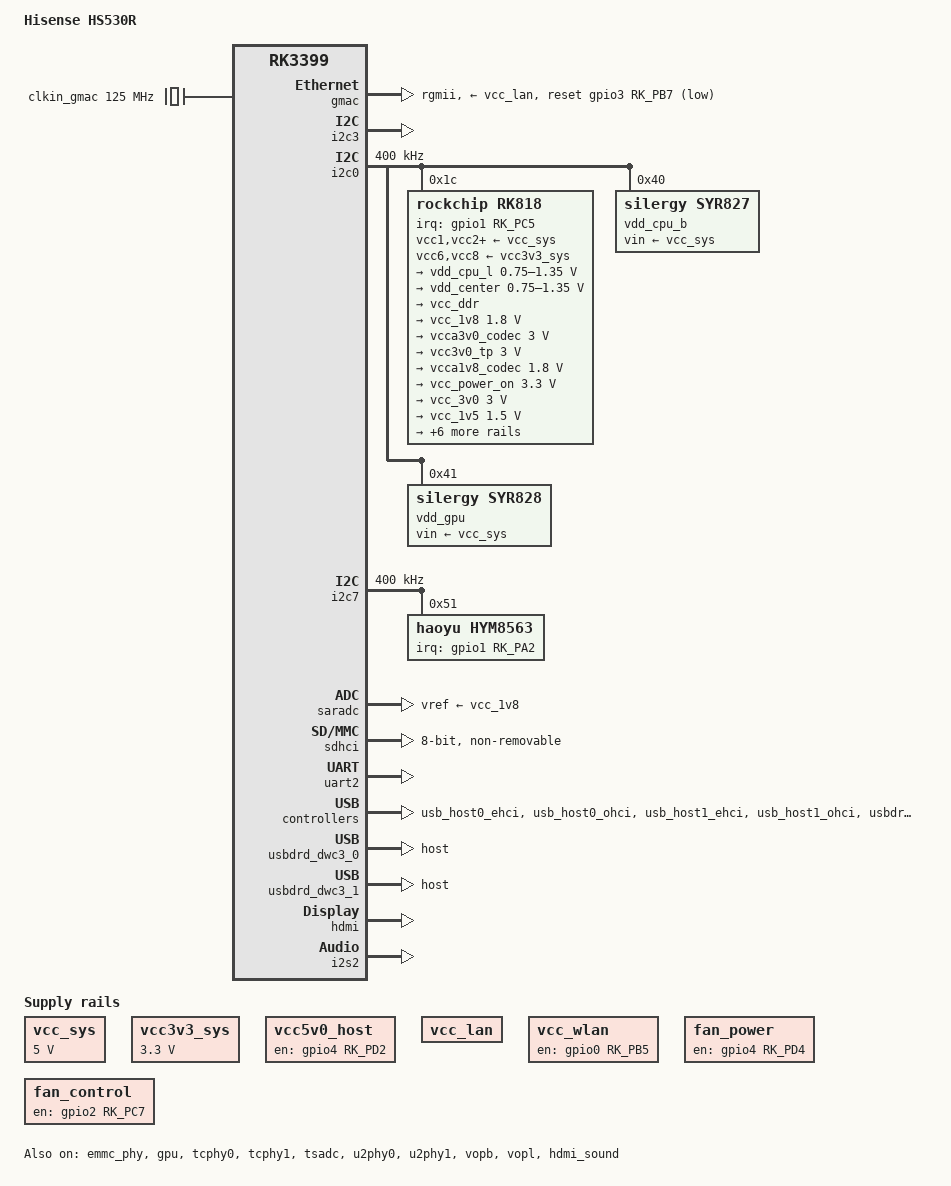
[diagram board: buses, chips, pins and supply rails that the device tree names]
// SPDX-License-Identifier: (GPL-2.0+ OR MIT)

/dts-v1/;
#include <dt-bindings/input/linux-event-codes.h>
#include <dt-bindings/pwm/pwm.h>
#include "rk3399.dtsi"

/ {
	model = "Hisense HS530R";
	compatible = "hisense,hs530r", "rockchip,rk3399";

	aliases {
		mmc0 = &sdhci;
		ethernet0 = &gmac;
	};

	chosen {
		stdout-path = "serial2:1500000n8";
	};

	clkin_gmac: external-gmac-clock {
		compatible = "fixed-clock";
		clock-frequency = <125000000>;
		clock-output-names = "clkin_gmac";
		#clock-cells = <0>;
	};

	vcc_sys: vcc-sys {
		compatible = "regulator-fixed";
		regulator-name = "vcc_sys";
		regulator-always-on;
		regulator-boot-on;
		regulator-min-microvolt = <5000000>;
		regulator-max-microvolt = <5000000>;
	};

	vcc3v3_sys: vcc3v3-sys {
		compatible = "regulator-fixed";
		regulator-name = "vcc3v3_sys";
		regulator-always-on;
		regulator-boot-on;
		regulator-min-microvolt = <3300000>;
		regulator-max-microvolt = <3300000>;
	};

	vcc5v0_host: vcc5v0-host {
		compatible = "regulator-fixed";
		enable-active-high;
		gpio = <&gpio4 RK_PD2 GPIO_ACTIVE_HIGH>;
		pinctrl-names = "default";
		pinctrl-0 = <&vcc5v0_host_en>;
		regulator-name = "vcc5v0_host";
		regulator-always-on;
	};

	vcc_lan: vcc-lan {
		compatible = "regulator-fixed";
		regulator-name = "vcc_lan";
		regulator-always-on;
		regulator-boot-on;
	};

	vcc_wlan: vcc-wlan {
		compatible = "regulator-fixed";
		enable-active-high;
		gpio = <&gpio0 RK_PB5 GPIO_ACTIVE_HIGH>;
		pinctrl-names = "default";
		pinctrl-0 = <&wlan_power_en>;
		regulator-name = "vcc_wlan";
		regulator-always-on;
	};

	fan_power: fan-power {
		compatible = "regulator-fixed";
		enable-active-high;
		gpio = <&gpio4 RK_PD4 GPIO_ACTIVE_HIGH>;
		pinctrl-names = "default";
		pinctrl-0 = <&fan_power_en>;
		regulator-name = "fan_power";
		regulator-always-on;
	};

	fan_control: fan-control {
		compatible = "regulator-fixed";
		enable-active-high;
		gpio = <&gpio2 RK_PC7 GPIO_ACTIVE_HIGH>;
		pinctrl-names = "default";
		pinctrl-0 = <&fan_control_en>;
		regulator-name = "fan_control";
		regulator-always-on;
	};
};

&cpu_l0 {
	cpu-supply = <&vdd_cpu_l>;
};

&cpu_l1 {
	cpu-supply = <&vdd_cpu_l>;
};

&cpu_l2 {
	cpu-supply = <&vdd_cpu_l>;
};

&cpu_l3 {
	cpu-supply = <&vdd_cpu_l>;
};

&cpu_b0 {
	cpu-supply = <&vdd_cpu_b>;
};

&cpu_b1 {
	cpu-supply = <&vdd_cpu_b>;
};

&emmc_phy {
	status = "okay";
};

&gmac {
	phy-supply = <&vcc_lan>;
	phy-mode = "rgmii";
	clock_in_out = "input";
	snps,reset-gpio = <&gpio3 RK_PB7 GPIO_ACTIVE_LOW>;
	snps,reset-active-low;
	snps,reset-delays-us = <0 10000 50000>;
	assigned-clocks = <&cru SCLK_RMII_SRC>;
	assigned-clock-parents = <&clkin_gmac>;
	pinctrl-names = "default";
	pinctrl-0 = <&rgmii_pins>;
	tx_delay = <0x1f>;
	rx_delay = <0x0f>;
	snps,txpbl = <4>;
	status = "okay";
};

&gpu {
	mali-supply = <&vdd_gpu>;
	status = "okay";
};

/* i2c3 is used for HDMI DDC */
&i2c3 {
	status = "okay";
};

&i2c0 {
	clock-frequency = <400000>;
	i2c-scl-rising-time-ns = <180>;
	i2c-scl-falling-time-ns = <30>;
	status = "okay";

	rk818: pmic@1c {
		compatible = "rockchip,rk818";
		reg = <0x1c>;
		interrupt-parent = <&gpio1>;
		interrupts = <RK_PC5 IRQ_TYPE_LEVEL_LOW>;
		pinctrl-names = "default";
		pinctrl-0 = <&pmic_int_l>;
		rockchip,system-power-controller;
		wakeup-source;
		#clock-cells = <1>;
		clock-output-names = "xin32k", "wifibt_32kin";
		vcc1-supply = <&vcc_sys>;
		vcc2-supply = <&vcc_sys>;
		vcc3-supply = <&vcc_sys>;
		vcc4-supply = <&vcc_sys>;
		vcc6-supply = <&vcc3v3_sys>;
		vcc7-supply = <&vcc_sys>;
		vcc8-supply = <&vcc3v3_sys>;
		vcc9-supply = <&vcc_sys>;

		regulators {
			vdd_cpu_l: DCDC_REG1 {
				regulator-name = "vdd_cpu_l";
				regulator-always-on;
				regulator-boot-on;
				regulator-min-microvolt = <750000>;
				regulator-max-microvolt = <1350000>;
				regulator-ramp-delay = <6001>;

				regulator-state-mem {
					regulator-off-in-suspend;
				};
			};

			vdd_center: DCDC_REG2 {
				regulator-name = "vdd_center";
				regulator-always-on;
				regulator-boot-on;
				regulator-min-microvolt = <750000>;
				regulator-max-microvolt = <1350000>;
				regulator-ramp-delay = <6001>;

				regulator-state-mem {
					regulator-off-in-suspend;
				};
			};

			vcc_ddr: DCDC_REG3 {
				regulator-name = "vcc_ddr";
				regulator-always-on;
				regulator-boot-on;

				regulator-state-mem {
					regulator-on-in-suspend;
				};
			};

			vcc_1v8: DCDC_REG4 {
				regulator-name = "vcc_1v8";
				regulator-always-on;
				regulator-boot-on;
				regulator-min-microvolt = <1800000>;
				regulator-max-microvolt = <1800000>;

				regulator-state-mem {
					regulator-on-in-suspend;
					regulator-suspend-microvolt = <1800000>;
				};
			};

			vcca3v0_codec: LDO_REG1 {
				regulator-name = "vcca3v0_codec";
				regulator-always-on;
				regulator-boot-on;
				regulator-min-microvolt = <3000000>;
				regulator-max-microvolt = <3000000>;

				regulator-state-mem {
					regulator-off-in-suspend;
				};
			};

			vcc3v0_tp: LDO_REG2 {
				regulator-name = "vcc3v0_tp";
				regulator-always-on;
				regulator-boot-on;
				regulator-min-microvolt = <3000000>;
				regulator-max-microvolt = <3000000>;

				regulator-state-mem {
					regulator-off-in-suspend;
				};
			};

			vcca1v8_codec: LDO_REG3 {
				regulator-name = "vcca1v8_codec";
				regulator-always-on;
				regulator-boot-on;
				regulator-min-microvolt = <1800000>;
				regulator-max-microvolt = <1800000>;

				regulator-state-mem {
					regulator-off-in-suspend;
				};
			};

			vcc_power_on: LDO_REG4 {
				regulator-name = "vcc_power_on";
				regulator-always-on;
				regulator-boot-on;
				regulator-min-microvolt = <3300000>;
				regulator-max-microvolt = <3300000>;

				regulator-state-mem {
					regulator-on-in-suspend;
					regulator-suspend-microvolt = <3300000>;
				};
			};

			vcc_3v0: LDO_REG5 {
				regulator-name = "vcc_3v0";
				regulator-always-on;
				regulator-boot-on;
				regulator-min-microvolt = <3000000>;
				regulator-max-microvolt = <3000000>;

				regulator-state-mem {
					regulator-on-in-suspend;
					regulator-suspend-microvolt = <3000000>;
				};
			};

			vcc_1v5: LDO_REG6 {
				regulator-name = "vcc_1v5";
				regulator-always-on;
				regulator-boot-on;
				regulator-min-microvolt = <1500000>;
				regulator-max-microvolt = <1500000>;

				regulator-state-mem {
					regulator-on-in-suspend;
					regulator-suspend-microvolt = <1500000>;
				};
			};

			vcc1v8_dvp: LDO_REG7 {
				regulator-name = "vcc1v8_dvp";
				regulator-always-on;
				regulator-boot-on;
				regulator-min-microvolt = <1800000>;
				regulator-max-microvolt = <1800000>;

				regulator-state-mem {
					regulator-off-in-suspend;
				};
			};

			vcc3v3_s3: LDO_REG8 {
				regulator-name = "vcc3v3_s3";
				regulator-always-on;
				regulator-boot-on;
				regulator-min-microvolt = <3300000>;
				regulator-max-microvolt = <3300000>;

				regulator-state-mem {
					regulator-off-in-suspend;
				};
			};

			vcc_sd: LDO_REG9 {
				regulator-name = "vcc_sd";
				regulator-always-on;
				regulator-boot-on;
				regulator-min-microvolt = <1800000>;
				regulator-max-microvolt = <3000000>;

				regulator-state-mem {
					regulator-on-in-suspend;
					regulator-suspend-microvolt = <3000000>;
				};
			};

			vcc3v3_s0: SWITCH_REG1 {
				regulator-name = "vcc3v3_s0";
				regulator-always-on;
				regulator-boot-on;

				regulator-state-mem {
					regulator-on-in-suspend;
				};
			};

			boost_otg: DCDC_BOOST {
				regulator-name = "boost_otg";
				regulator-always-on;
				regulator-boot-on;
				regulator-min-microvolt = <5000000>;
				regulator-max-microvolt = <5000000>;

				regulator-state-mem {
					regulator-on-in-suspend;
					regulator-suspend-microvolt = <5000000>;
				};
			};

			otg_switch: OTG_SWITCH {
				regulator-name = "otg_switch";
			};
		};
	};

	vdd_cpu_b: regulator@40 {
		compatible = "silergy,syr827";
		reg = <0x40>;
		fcs,suspend-voltage-selector = <1>;
		pinctrl-names = "default";
		pinctrl-0 = <&vsel1_pin>;
		regulator-name = "vdd_cpu_b";
		regulator-min-microvolt = <712500>;
		regulator-max-microvolt = <1500000>;
		regulator-ramp-delay = <1000>;
		regulator-always-on;
		regulator-boot-on;
		vin-supply = <&vcc_sys>;

		regulator-state-mem {
			regulator-off-in-suspend;
		};
	};

	vdd_gpu: regulator@41 {
		compatible = "silergy,syr828";
		reg = <0x41>;
		fcs,suspend-voltage-selector = <1>;
		pinctrl-names = "default";
		pinctrl-0 = <&vsel2_pin>;
		regulator-name = "vdd_gpu";
		regulator-min-microvolt = <712500>;
		regulator-max-microvolt = <1500000>;
		regulator-ramp-delay = <1000>;
		regulator-always-on;
		regulator-boot-on;
		vin-supply = <&vcc_sys>;

		regulator-state-mem {
			regulator-off-in-suspend;
		};
	};
};

/* i2c7 has the RTC */
&i2c7 {
	clock-frequency = <400000>;
	status = "okay";

	hym8563: rtc@51 {
		compatible = "haoyu,hym8563";
		reg = <0x51>;
		interrupt-parent = <&gpio1>;
		interrupts = <RK_PA2 IRQ_TYPE_LEVEL_LOW>;
		#clock-cells = <0>;
		clock-output-names = "xin32k";
		pinctrl-names = "default";
		pinctrl-0 = <&hym8563_int>;
		wakeup-source;
	};
};

&pmu_io_domains {
	pmu1830-supply = <&vcc_1v8>;
	status = "okay";
};

&saradc {
	vref-supply = <&vcc_1v8>;
	status = "okay";
};

&sdhci {
	bus-width = <8>;
	mmc-hs200-1_8v;
	non-removable;
	status = "okay";
};

/* sdmmc (SD card slot) is not populated on HS530R */

&tcphy0 {
	status = "okay";
};

&tcphy1 {
	status = "okay";
};

&tsadc {
	rockchip,hw-tshut-mode = <1>;
	rockchip,hw-tshut-polarity = <1>;
	status = "okay";
};

&u2phy0 {
	status = "okay";

	u2phy0_otg: otg-port {
		status = "okay";
	};

	u2phy0_host: host-port {
		phy-supply = <&vcc5v0_host>;
		status = "okay";
	};
};

&u2phy1 {
	status = "okay";

	u2phy1_otg: otg-port {
		status = "okay";
	};

	u2phy1_host: host-port {
		phy-supply = <&vcc5v0_host>;
		status = "okay";
	};
};

&uart2 {
	status = "okay";
};

&usb_host0_ehci {
	status = "okay";
};

&usb_host0_ohci {
	status = "okay";
};

&usb_host1_ehci {
	status = "okay";
};

&usb_host1_ohci {
	status = "okay";
};

&usbdrd3_0 {
	status = "okay";
};

&usbdrd_dwc3_0 {
	dr_mode = "host";
	status = "okay";
};

&usbdrd3_1 {
	status = "okay";
};

&usbdrd_dwc3_1 {
	dr_mode = "host";
	status = "okay";
};

&vopb {
	status = "okay";
};

&vopb_mmu {
	status = "okay";
};

&vopl {
	status = "okay";
};

&vopl_mmu {
	status = "okay";
};

&hdmi {
	ddc-i2c-bus = <&i2c3>;
	pinctrl-names = "default";
	pinctrl-0 = <&hdmi_cec>;
	status = "okay";
};

&hdmi_sound {
	status = "okay";
};

&i2s2 {
	status = "okay";
};

&pinctrl {
	pmic {
		pmic_int_l: pmic-int-l {
			rockchip,pins = <1 RK_PC5 RK_FUNC_GPIO &pcfg_pull_up>;
		};

		vsel1_pin: vsel1-pin {
			rockchip,pins = <1 RK_PC1 RK_FUNC_GPIO &pcfg_pull_down>;
		};

		vsel2_pin: vsel2-pin {
			rockchip,pins = <1 RK_PB6 RK_FUNC_GPIO &pcfg_pull_down>;
		};
	};

	hym8563 {
		hym8563_int: hym8563-int {
			rockchip,pins = <1 RK_PA2 RK_FUNC_GPIO &pcfg_pull_up>;
		};
	};

	usb {
		vcc5v0_host_en: vcc5v0-host-en {
			rockchip,pins = <4 RK_PD2 RK_FUNC_GPIO &pcfg_pull_none>;
		};
	};

	wireless {
		wlan_power_en: wlan-power-en {
			rockchip,pins = <0 RK_PB5 RK_FUNC_GPIO &pcfg_pull_none>;
		};

		wifi_host_wake_irq: wifi-host-wake-irq {
			rockchip,pins = <4 RK_PB1 RK_FUNC_GPIO &pcfg_pull_up>;
		};
	};

	fan {
		fan_power_en: fan-power-en {
			rockchip,pins = <4 RK_PD4 RK_FUNC_GPIO &pcfg_pull_none>;
		};

		fan_control_en: fan-control-en {
			rockchip,pins = <2 RK_PC7 RK_FUNC_GPIO &pcfg_pull_none>;
		};
	};
};
